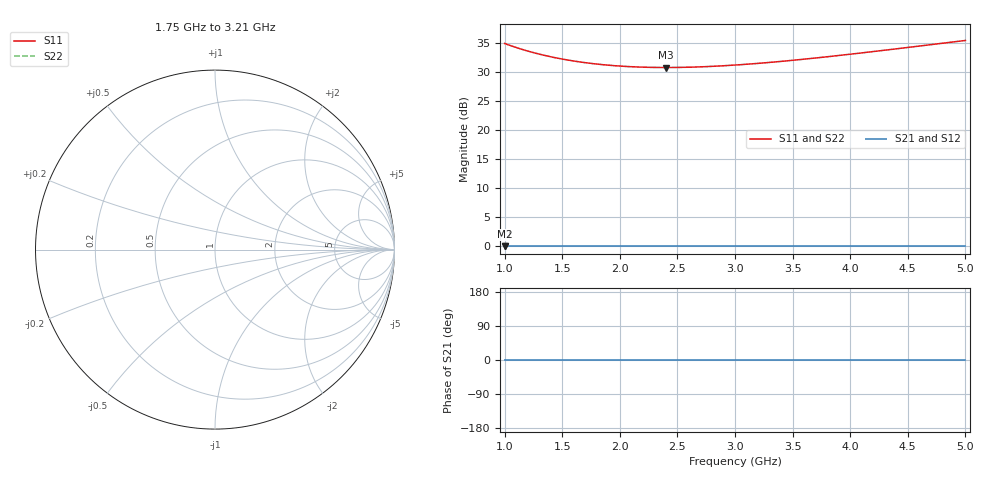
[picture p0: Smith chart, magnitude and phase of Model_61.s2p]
# GHZ S RI R 50
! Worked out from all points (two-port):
!   401 points, 1 GHz to 5 GHz, reference 50 ohm
!   highest |S21| = 0.00 dB at 1 GHz (marker M1); lowest = 0.0 dB at 1 GHz (marker M2)
!   |S21| within 3 dB of the highest: start of sweep to end of sweep
!   lowest |S11| = 30.7 dB at 2.4 GHz (marker M3)
!   |S11| at or under -10 dB: nowhere
!   |S22| runs from 30.7 to 35.4 dB; largest |S21 - S12| = 0
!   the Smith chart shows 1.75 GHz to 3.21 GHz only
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1  55.41 0  1 0  1 0  55.41 0
1.02  54.48 0  1 0  1 0  54.48 0
1.15  49.35 0  1 0  1 0  49.35 0
1.22  47.11 0  1 0  1 0  47.11 0
1.3  44.9 0  1 0  1 0  44.9 0
1.38  43.02 0  1 0  1 0  43.02 0
1.47  41.23 0  1 0  1 0  41.23 0
1.57  39.58 0  1 0  1 0  39.58 0
1.67  38.23 0  1 0  1 0  38.23 0
1.82  36.68 0  1 0  1 0  36.68 0
1.98  35.53 0  1 0  1 0  35.53 0
2.15  34.79 0  1 0  1 0  34.79 0
2.34  34.44 0  1 0  1 0  34.44 0
2.4  34.42 0  1 0  1 0  34.42 0
2.69  34.85 0  1 0  1 0  34.85 0
3  36.14 0  1 0  1 0  36.14 0
3.33  38.3 0  1 0  1 0  38.3 0
3.67  41.27 0  1 0  1 0  41.27 0
4  44.79 0  1 0  1 0  44.79 0
4.34  49.02 0  1 0  1 0  49.02 0
4.64  53.23 0  1 0  1 0  53.23 0
5  58.84 0  1 0  1 0  58.84 0
